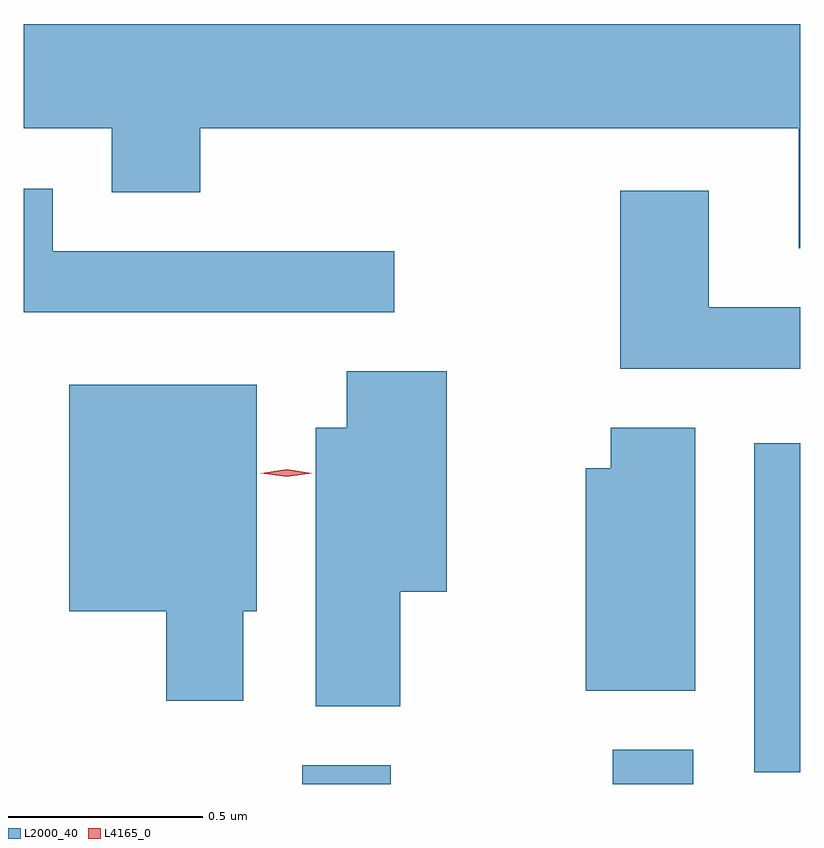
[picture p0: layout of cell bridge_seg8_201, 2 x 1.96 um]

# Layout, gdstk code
import gdstk
lib = gdstk.Library(unit=1e-6, precision=1e-09)
def R(c, l, rs):  # rectangles x0, y0, x1, y1
    for r in rs: c.add(gdstk.rectangle(r[:2], r[2:], *l))
def P(c, l, *ps):  # polygons
    for p in ps: c.add(gdstk.Polygon(p, *l))
L2000_40 = (2000, 40)
L4165_0 = (4165, 0)

bridge_seg8_201 = lib.new_cell('bridge_seg8_201')
R(bridge_seg8_201, L2000_40, [(1060.691,1941.286,1060.919,1941.334), (1061.491,1941.286,1061.699,1941.374), (1061.856,1941.316,1061.974,1942.164)])
P(bridge_seg8_201, L2000_40, [(1061.974,1943.244),(1059.974,1943.244),(1059.974,1942.976),(1060.201,1942.976),(1060.201,1942.811),(1060.429,1942.811),(1060.429,1942.976),(1061.971,1942.976),(1061.971,1942.666),(1061.974,1942.666)],
  [(1060.928,1942.659),(1060.049,1942.659),(1060.049,1942.819),(1059.974,1942.819),(1059.974,1942.501),(1060.928,1942.501)],
  [(1061.974,1942.514),(1061.739,1942.514),(1061.739,1942.814),(1061.511,1942.814),(1061.511,1942.356),(1061.974,1942.356)],
  [(1060.944,1941.781),(1061.064,1941.781),(1061.064,1942.349),(1060.806,1942.349),(1060.806,1942.204),(1060.726,1942.204),(1060.726,1941.486),(1060.944,1941.486)],
  [(1060.539,1941.731),(1060.574,1941.731),(1060.574,1942.314),(1060.091,1942.314),(1060.091,1941.731),(1060.341,1941.731),(1060.341,1941.501),(1060.539,1941.501)],
  [(1061.704,1942.204),(1061.486,1942.204),(1061.486,1942.099),(1061.421,1942.099),(1061.421,1941.526),(1061.704,1941.526)])
P(bridge_seg8_201, L4165_0, [(1060.651,1942.077),(1060.584,1942.086),(1060.584,1942.087),(1060.584,1942.087),(1060.651,1942.097),(1060.717,1942.087),(1060.717,1942.087),(1060.717,1942.086)])

lib.write_gds('bridge_seg8_201.gds')
